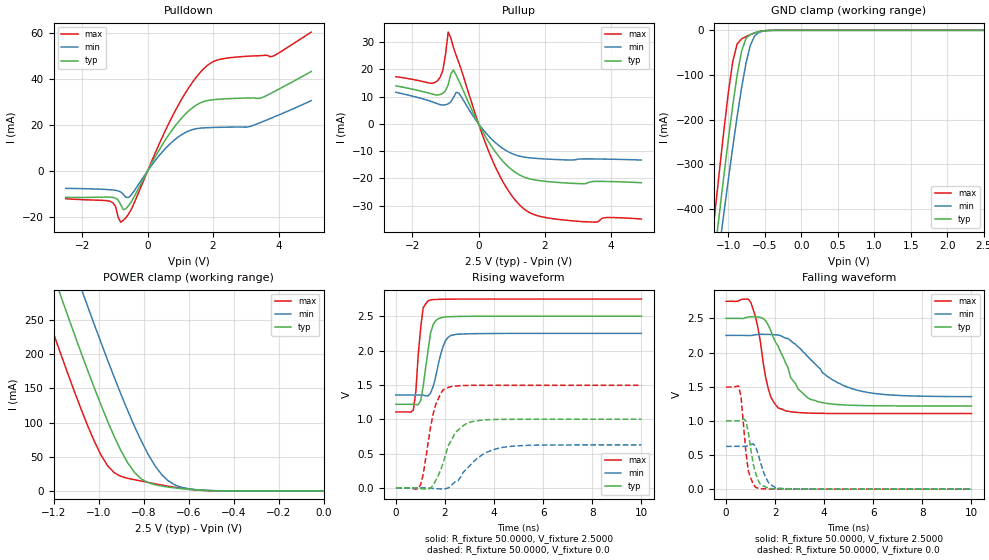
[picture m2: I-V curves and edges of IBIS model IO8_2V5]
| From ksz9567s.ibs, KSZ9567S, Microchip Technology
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|   Model IO8_2V5
[Model]  IO8_2V5
Model_type I/O
Polarity   Non-Inverting
Enable   Active-High
Vinl =   1.0000V
Vinh =   1.5000V
Vmeas =  1.2500V
Vref =   0.0V
C_comp   1.5000pF   1.4000pF   1.7000pF
[Temperature Range]   42.0000   0.1250k   -40.0000
[Voltage Range]   2.5000V   2.2500V   2.7500V
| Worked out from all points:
|   slope of the pulldown table from 0 to 0.375 V, typ, clamps not added: 38.8 ohm
|   slope of the pullup table from 0 to 0.375 V, typ, clamps not added: 46.9 ohm
|   GND clamp passes 1 mA (typ) near -0.50 V on its own axis
|   POWER clamp passes 1 mA (typ) near -0.54 V on its own axis
|   rising waveform, R_fixture 50.0000, V_fixture 2.5000: 20-80 % time 298ps typ, 377ps min, 223ps max; typ from 1.22 V to 2.5 V
|   rising waveform, R_fixture 50.0000, V_fixture 0.0: 20-80 % time 660ps typ, 1.05ns min, 452ps max; typ from 0 V to 1 V
|   falling waveform, R_fixture 50.0000, V_fixture 2.5000: 20-80 % time 1.02ns typ, 1.72ns min, 487ps max; typ from 2.5 V to 1.22 V
|   falling waveform, R_fixture 50.0000, V_fixture 0.0: 20-80 % time 319ps typ, 369ps min, 248ps max; typ from 1 V to 0 V
[Pulldown]
|Voltage   I(typ)   I(min)   I(max)
-2.5V     -11.51mA   -7.593mA   -12.1mA
-1.14V    -11.42mA   -8.184mA   -13.25mA
-980mV    -11.84mA   -8.438mA   -15.44mA
-820mV    -14.74mA   -9.173mA   -22.32mA
-740mV    -16.89mA   -10.17mA   -21.48mA
-580mV    -15.09mA   -11.52mA   -18.76mA
940mV     21.39mA    14.85mA    28.74mA
1.74V     30.37mA    18.79mA    44.9mA
2.22V     31.3mA     19.03mA    48.67mA
3.42V     31.64mA    20.93mA    50.22mA
3.82V     34.22mA    23.27mA    49.96mA
5V        43.33mA    30.66mA    60.51mA
[Pullup]
|Voltage   I(typ)   I(min)   I(max)
-2.5V     13.91mA    11.57mA    17.26mA
-1.24V    10.55mA    7.35mA     15.82mA
-1.08V    11.2mA     6.897mA    19.69mA
-920mV    14.33mA    7.316mA    33.61mA
-760mV    19.71mA    9.636mA    27.92mA
-600mV    15.83mA    11.28mA    22.47mA
360mV     -7.706mA   -5.18mA    -11.74mA
760mV     -14.05mA   -9.226mA   -21.74mA
1.24V     -18.72mA   -11.83mA   -29.7mA
1.64V     -20.4mA    -12.55mA   -33.06mA
2.44V     -21.49mA   -13.11mA   -35.03mA
4.92V     -21.56mA   -13.25mA   -34.85mA
[GND_clamp]
|Voltage   I(typ)   I(min)   I(max)
-2.5V     -2.459A    -2.335A    -2.574A
-1.24V    -576.1mA   -637.3mA   -496.6mA
-1.18V    -490.6mA   -559.8mA   -402.7mA
-1.12V    -406.4mA   -483.2mA   -310.8mA
-1.06V    -323.9mA   -407.8mA   -222.1mA
-940mV    -168.5mA   -262.1mA   -70.11mA
-880mV    -100.5mA   -193.5mA   -30.68mA
-820mV    -47.33mA   -129.9mA   -19.44mA
-760mV    -18.71mA   -74.8mA    -14.12mA
-640mV    -5.456mA   -12.39mA   -5.874mA
-520mV    -1.3mA     -1.782mA   -1.009mA
2.5V      156.2pA    1.338uA    90.81pA
[POWER_clamp]
|Voltage   I(typ)   I(min)   I(max)
-2.5V     1.544A     1.608A     1.489A
-1.26V    371.8mA    464.4mA    287.1mA
-1.17V    287.1mA    381.6mA    202.3mA
-1.08V    204.5mA    298.8mA    121.8mA
-1.05V    177.8mA    271.4mA    96.8mA
-960mV    102.2mA    191.6mA    36.92mA
-870mV    40.88mA    117.2mA    18.42mA
-840mV    26.97mA    94.36mA    16.4mA
-780mV    12.16mA    53.87mA    12.51mA
-690mV    5.606mA    14.7mA     6.87mA
-540mV    945.8uA    1.239mA    771.6uA
0V        156.2pA    2.563nA    117pA
[Ramp]
| variable   typ   min   max
dV/dt_r  0.6000/0.7083n   0.3759/1.0574n   0.8967/0.4543n
dV/dt_f  0.7696/1.0217n   0.5375/1.7819n   0.9860/0.5328n
R_load = 50.0000
[Rising Waveform]
R_fixture= 50.0000
V_fixture= 2.5000
V_fixture_min= 2.2500
V_fixture_max= 2.7500
|time   V(typ)   V(min)   V(max)
0s        1.217V     1.353V     1.107V
710ps     1.217V     1.353V     1.136V
810ps     1.214V     1.353V     1.396V
1.01ns    1.271V     1.353V     2.336V
1.11ns    1.478V     1.351V     2.623V
1.31ns    2.003V     1.339V     2.724V
1.62ns    2.436V     1.619V     2.744V
1.92ns    2.485V     2.058V     2.747V
2.22ns    2.494V     2.217V     2.749V
10ns      2.5V       2.25V      2.75V
[Rising Waveform]
R_fixture= 50.0000
V_fixture= 0.0
V_fixture_min= 0.0
V_fixture_max= 0.0
|time   V(typ)   V(min)   V(max)
0s        212.1nV    603.9nV    -2.95uV
1.01ns    -8.424mV   48.32uV    51.63mV
1.41ns    -3.496mV   -4.695mV   887.5mV
1.62ns    106.6mV    -10.08mV   1.212V
1.92ns    360.9mV    -14.07mV   1.426V
2.12ns    608.2mV    -2.082mV   1.461V
2.42ns    809.1mV    92.61mV    1.483V
2.93ns    949.3mV    295.6mV    1.492V
4.14ns    997.1mV    574.7mV    1.494V
10ns      1V         626.5mV    1.494V
[Falling Waveform]
R_fixture= 50.0000
V_fixture= 2.5000
V_fixture_min= 2.2500
V_fixture_max= 2.7500
|time   V(typ)   V(min)   V(max)
0s        2.5V       2.25V      2.75V
1.01ns    2.523V     2.248V     2.734V
1.31ns    2.52V      2.264V     2.342V
1.72ns    2.398V     2.265V     1.472V
2.12ns    2.097V     2.255V     1.189V
2.93ns    1.468V     2.083V     1.122V
3.74ns    1.28V      1.793V     1.11V
4.34ns    1.245V     1.599V     1.108V
5.56ns    1.224V     1.43V      1.107V
10ns      1.217V     1.354V     1.107V
[Falling Waveform]
R_fixture= 50.0000
V_fixture= 0.0
V_fixture_min= 0.0
V_fixture_max= 0.0
|time   V(typ)   V(min)   V(max)
0s        1V         626.5mV    1.494V
510ps     1V         626.9mV    1.51V
610ps     1.008V     626.7mV    1.355V
810ps     996.6mV    627.4mV    535.3mV
910ps     825.5mV    636.7mV    263.4mV
1.21ns    231.3mV    615.7mV    25.29mV
1.41ns    66.67mV    383.1mV    8.478mV
1.72ns    17.77mV    102.6mV    3.474mV
2.12ns    4.69mV     17.18mV    1.968mV
10ns      -555.1nV   9.507uV    1.438uV
